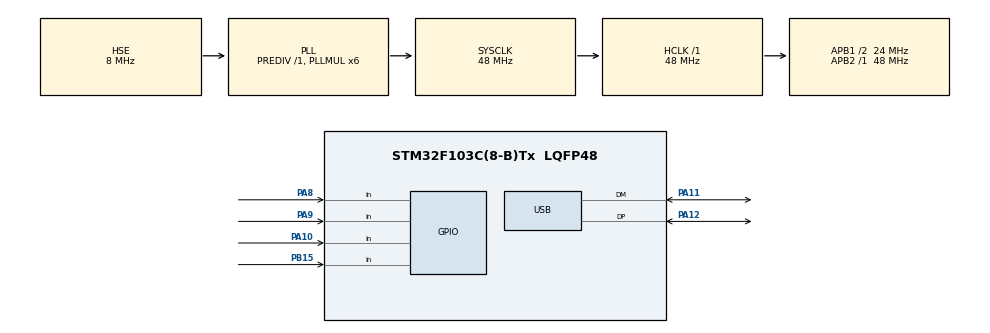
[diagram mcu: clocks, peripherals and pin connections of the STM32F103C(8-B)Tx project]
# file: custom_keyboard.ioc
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Mcu.Family=STM32F1
Mcu.Name=STM32F103C(8-B)Tx
Mcu.Package=LQFP48
NVIC.PriorityGroup=NVIC_PRIORITYGROUP_4
NVIC.USB_LP_CAN1_RX0_IRQn=true\:0\:0\:false\:false\:true\:false\:true
PA10.GPIO_PuPd=GPIO_PULLUP
PA10.Signal=GPIO_Input
PA11.Mode=Device
PA11.Signal=USB_DM
PA12.Mode=Device
PA12.Signal=USB_DP
PA13.Mode=Serial_Wire
PA13.Signal=SYS_JTMS-SWDIO
PA14.Mode=Serial_Wire
PA14.Signal=SYS_JTCK-SWCLK
PA8.GPIO_PuPd=GPIO_PULLUP
PA8.Signal=GPIO_Input
PA9.GPIO_PuPd=GPIO_PULLUP
PA9.Signal=GPIO_Input
PB15.GPIO_PuPd=GPIO_PULLUP
PB15.Signal=GPIO_Input
PC14-OSC32_IN.Mode=LSE-External-Oscillator
PC14-OSC32_IN.Signal=RCC_OSC32_IN
PC15-OSC32_OUT.Mode=LSE-External-Oscillator
PC15-OSC32_OUT.Signal=RCC_OSC32_OUT
PD0-OSC_IN.Mode=HSE-External-Oscillator
PD0-OSC_IN.Signal=RCC_OSC_IN
PD1-OSC_OUT.Mode=HSE-External-Oscillator
PD1-OSC_OUT.Signal=RCC_OSC_OUT
ProjectManager.HeapSize=0x200
ProjectManager.StackSize=0x400
ProjectManager.TargetToolchain=STM32CubeIDE
RCC.AHBFreq_Value=48000000
RCC.APB1CLKDivider=RCC_HCLK_DIV2
RCC.APB1Freq_Value=24000000
RCC.APB1TimFreq_Value=48000000
RCC.APB2Freq_Value=48000000
RCC.APB2TimFreq_Value=48000000
RCC.HCLKFreq_Value=48000000
RCC.PLLMUL=RCC_PLL_MUL6
RCC.SYSCLKFreq_VALUE=48000000
RCC.SYSCLKSource=RCC_SYSCLKSOURCE_PLLCLK
RCC.USBFreq_Value=48000000
USB_DEVICE.CLASS_NAME_FS=HID
USB_DEVICE.VirtualMode=Hid
USB_DEVICE.VirtualModeFS=Hid_FS
VP_USB_DEVICE_VS_USB_DEVICE_HID_FS.Mode=HID_FS
board=custom

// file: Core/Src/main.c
/* USER CODE BEGIN Header */
/**
  ******************************************************************************
  * @file           : main.c
  * @brief          : Main program body
  ******************************************************************************
  * @attention
  *
  * <h2><center>&copy; Copyright (c) 2020 STMicroelectronics.
  * All rights reserved.</center></h2>
  *
  * This software component is licensed by ST under BSD 3-Clause license,
  * the "License"; You may not use this file except in compliance with the
  * License. You may obtain a copy of the License at:
  *                        opensource.org/licenses/BSD-3-Clause
  *
  ******************************************************************************
  */
/* USER CODE END Header */

#include "main.h"
#include "usb_device.h"

/* USER CODE BEGIN Includes */
#define USB_HID_MODIFIER_LEFT_CTRL   0x01
#define USB_HID_MODIFIER_LEFT_SHIFT  0x02
#define USB_HID_MODIFIER_LEFT_ALT    0x04
#define USB_HID_MODIFIER_LEFT_GUI    0x08 // (Win/Apple/Meta)
#define USB_HID_MODIFIER_RIGHT_CTRL  0x10
#define USB_HID_MODIFIER_RIGHT_SHIFT 0x20
#define USB_HID_MODIFIER_RIGHT_ALT   0x40
#define USB_HID_MODIFIER_RIGHT_GUI   0x80

#include "usbd_hid.h"
#include "usb_hid_keys.h"
/* USER CODE END Includes */
extern USBD_HandleTypeDef hUsbDeviceFS;
/* USER CODE BEGIN PTD */
uint8_t hid_buffer[8] = {0};
/* USER CODE END PTD */

void SystemClock_Config(void);
static void MX_GPIO_Init(void);

/* USER CODE BEGIN 0 */
struct keyboardHID_t
{
	uint8_t id;
	uint8_t modifiers;
	uint8_t key1;
	uint8_t key2;
	uint8_t key3;
};
struct keyboardHID_t keyboardHID;
/* USER CODE END 0 */

int main(void)
{

  /* MCU Configuration--------------------------------------------------------*/

  /* Reset of all peripherals, Initializes the Flash interface and the Systick. */
  HAL_Init();

  /* Configure the system clock */
  SystemClock_Config();

  /* Initialize all configured peripherals */
  MX_GPIO_Init();
  MX_USB_DEVICE_Init();
  /* USER CODE BEGIN 2 */

   keyboardHID.id = 1;
   keyboardHID.modifiers = 0;
   keyboardHID.key1 = 0;
   keyboardHID.key2 = 0;
   keyboardHID.key3 = 0;
  /* USER CODE END 2 */

  /* Infinite loop */
  while (1)
  {
	 if(!HAL_GPIO_ReadPin(GPIOA, GPIO_PIN_8))               //build & debug button
		 {
		   hid_buffer[0] = 0;
		   hid_buffer[2] = 0x44;
		   USBD_HID_SendReport(&hUsbDeviceFS, hid_buffer, 8);
		   HAL_Delay(20);
		   while(!HAL_GPIO_ReadPin(GPIOA, GPIO_PIN_8));
		   hid_buffer[0] = 0;
		   hid_buffer[2] = 0;
		   USBD_HID_SendReport(&hUsbDeviceFS, hid_buffer, 8);
		 }

     if(!HAL_GPIO_ReadPin(GPIOA, GPIO_PIN_9))                // toggle breakpoint
		 {
		   hid_buffer[0] = 0x03;
		   hid_buffer[2] = KEY_B;
           USBD_HID_SendReport(&hUsbDeviceFS, hid_buffer, 8);
		   HAL_Delay(20);
		   while(!HAL_GPIO_ReadPin(GPIOA, GPIO_PIN_9));
		   hid_buffer[0] = 0;
		   hid_buffer[2] = 0;
		   USBD_HID_SendReport(&hUsbDeviceFS, hid_buffer, 8);
		   HAL_Delay(20);
		 }

	 if(!HAL_GPIO_ReadPin(GPIOA, GPIO_PIN_10))               //comment line
		{
		  hid_buffer[0] = 0x01;
		  hid_buffer[2] = 0x24;
		  USBD_HID_SendReport(&hUsbDeviceFS, hid_buffer, 8);
		  HAL_Delay(20);
		  while(!HAL_GPIO_ReadPin(GPIOA, GPIO_PIN_10));
		  hid_buffer[0] = 0;
		  hid_buffer[2] = 0;
		  USBD_HID_SendReport(&hUsbDeviceFS, hid_buffer, 8);
		  HAL_Delay(20);
		}

	 if(!HAL_GPIO_ReadPin(GPIOB, GPIO_PIN_15))              //switch back to the previous window
		 {
		   hid_buffer[0] = 0x14;
		   hid_buffer[2] = 0x2B;
		   USBD_HID_SendReport(&hUsbDeviceFS, hid_buffer, 8);
		   HAL_Delay(20);
		   while(!HAL_GPIO_ReadPin(GPIOB, GPIO_PIN_15));
		   hid_buffer[0] = 0;
		   hid_buffer[2] = 0x2C;
		   USBD_HID_SendReport(&hUsbDeviceFS, hid_buffer, 8);
		   HAL_Delay(20);
		   hid_buffer[0] = 0;
		   hid_buffer[2] = 0;
		   USBD_HID_SendReport(&hUsbDeviceFS, hid_buffer, 8);
		   HAL_Delay(20);
		 }

  }
}

void SystemClock_Config(void)
{
  RCC_OscInitTypeDef RCC_OscInitStruct = {0};
  RCC_ClkInitTypeDef RCC_ClkInitStruct = {0};
  RCC_PeriphCLKInitTypeDef PeriphClkInit = {0};

  /** Initializes the CPU, AHB and APB busses clocks
  */
  RCC_OscInitStruct.OscillatorType = RCC_OSCILLATORTYPE_HSE;
  RCC_OscInitStruct.HSEState = RCC_HSE_ON;
  RCC_OscInitStruct.HSEPredivValue = RCC_HSE_PREDIV_DIV1;
  RCC_OscInitStruct.HSIState = RCC_HSI_ON;
  RCC_OscInitStruct.PLL.PLLState = RCC_PLL_ON;
  RCC_OscInitStruct.PLL.PLLSource = RCC_PLLSOURCE_HSE;
  RCC_OscInitStruct.PLL.PLLMUL = RCC_PLL_MUL6;
  if (HAL_RCC_OscConfig(&RCC_OscInitStruct) != HAL_OK)
  {
    Error_Handler();
  }
  /** Initializes the CPU, AHB and APB busses clocks
  */
  RCC_ClkInitStruct.ClockType = RCC_CLOCKTYPE_HCLK|RCC_CLOCKTYPE_SYSCLK
                              |RCC_CLOCKTYPE_PCLK1|RCC_CLOCKTYPE_PCLK2;
  RCC_ClkInitStruct.SYSCLKSource = RCC_SYSCLKSOURCE_PLLCLK;
  RCC_ClkInitStruct.AHBCLKDivider = RCC_SYSCLK_DIV1;
  RCC_ClkInitStruct.APB1CLKDivider = RCC_HCLK_DIV2;
  RCC_ClkInitStruct.APB2CLKDivider = RCC_HCLK_DIV1;

  if (HAL_RCC_ClockConfig(&RCC_ClkInitStruct, FLASH_LATENCY_1) != HAL_OK)
  {
    Error_Handler();
  }
  PeriphClkInit.PeriphClockSelection = RCC_PERIPHCLK_USB;
  PeriphClkInit.UsbClockSelection = RCC_USBCLKSOURCE_PLL;
  if (HAL_RCCEx_PeriphCLKConfig(&PeriphClkInit) != HAL_OK)
  {
    Error_Handler();
  }
}

static void MX_GPIO_Init(void)
{
  GPIO_InitTypeDef GPIO_InitStruct = {0};

  /* GPIO Ports Clock Enable */
  __HAL_RCC_GPIOC_CLK_ENABLE();
  __HAL_RCC_GPIOD_CLK_ENABLE();
  __HAL_RCC_GPIOB_CLK_ENABLE();
  __HAL_RCC_GPIOA_CLK_ENABLE();

  /*Configure GPIO pin : PB15 */
  GPIO_InitStruct.Pin = GPIO_PIN_15;
  GPIO_InitStruct.Mode = GPIO_MODE_INPUT;
  GPIO_InitStruct.Pull = GPIO_PULLUP;
  HAL_GPIO_Init(GPIOB, &GPIO_InitStruct);

  /*Configure GPIO pins : PA8 PA9 PA10 */
  GPIO_InitStruct.Pin = GPIO_PIN_8|GPIO_PIN_9|GPIO_PIN_10;
  GPIO_InitStruct.Mode = GPIO_MODE_INPUT;
  GPIO_InitStruct.Pull = GPIO_PULLUP;
  HAL_GPIO_Init(GPIOA, &GPIO_InitStruct);

}

void Error_Handler(void)
{
}

/************************ (C) COPYRIGHT STMicroelectronics *****END OF FILE****/
